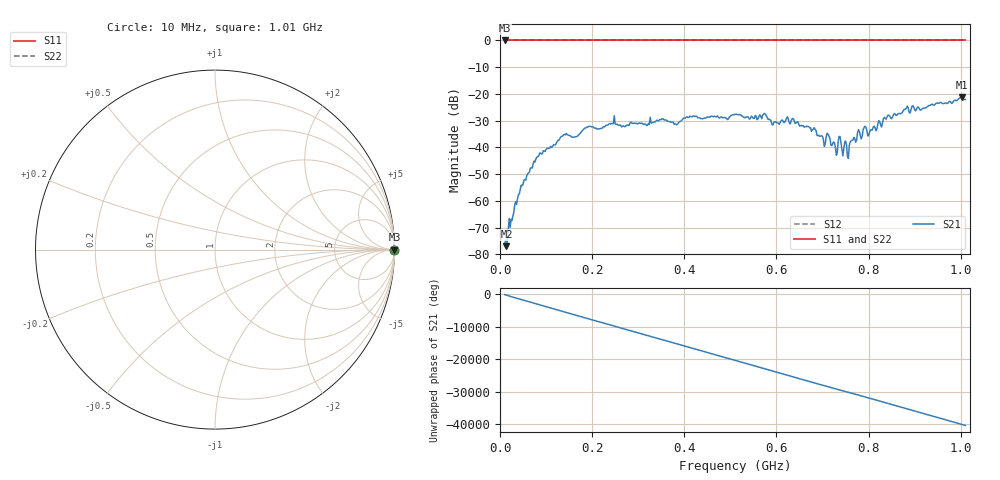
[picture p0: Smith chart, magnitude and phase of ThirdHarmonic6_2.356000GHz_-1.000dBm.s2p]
! 8/17/2025 3:35:15 AM
! C:\ANRITSUVNA\TEMP\TEMP.S2P
! CHANNEL.1
! TR.MEASUREMENT
! RAW.DATA
! RF.CORRECTION.OFF
! AVERAGING.OFF
! IF.BANDWIDTH: 5KHZ
! SWEEPTYPE:  FREQ.SWEEP(Linear)
! Reference Plane Port Info
! PORT:  PORT1  PORT2
! DISTANCE:  0  m  0  m
! TIME:  0  s  0  s
! PHASE.OFFSET:  0  deg.  0  deg.
! LOSS:  0  dB  0  dB
! REF.LOSS:  0  dB  0  dB
! REF.FREQ:  0  Hz  0  Hz
! Power Info
! POWER:  -20  dBm  -20  dBm
! EFF.POWER:  -20  dBm  -20  dBm
! SOURCE.ATTEN:  0  dB  0  dB
! TEST.ATTEN:  0  dB  0  dB
# GHZ S RI R 50.0
! FREQ.GHZ  S11RE  S11IM  S21RE  S21IM  S12RE  S12IM  S22RE  S22IM
!; PortSelection: Port_12
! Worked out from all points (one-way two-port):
!   501 points, 10 MHz to 1.01 GHz, reference 50 ohm
!   highest |S21| = -21.24 dB at 1.002 GHz (marker M1); lowest = -77.0 dB at 14 MHz (marker M2)
!   lowest |S11| = 0.0 dB at 10 MHz (marker M3)
!   |S11| at or under -10 dB: nowhere
!   |S22| runs from 0.0 to 0.0 dB; largest |S21 - S12| = 1.1
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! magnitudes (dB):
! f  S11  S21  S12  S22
! 10 MHz  0.0  -76.8  0.0  0.0
! 14 MHz  0.0  -77.0  0.0  0.0
! 44 MHz  0.0  -55.8  0.0  0.0
! 82 MHz  0.0  -43.5  0.0  0.0
! 136 MHz  0.0  -35.8  0.0  0.0
! 178 MHz  0.0  -33.9  0.0  0.0
! 344 MHz  0.0  -30.1  0.0  0.0
! 510 MHz  0.0  -27.6  0.0  0.0
! 574 MHz  0.0  -27.3  0.0  0.0
! 592 MHz  0.0  -31.7  0.0  0.0
! 636 MHz  0.0  -29.2  0.0  0.0
! 678 MHz  0.0  -33.5  0.0  0.0
! 702 MHz  0.0  -37.3  0.0  0.0
! 712 MHz  0.0  -35.1  0.0  0.0
! 728 MHz  0.0  -40.2  0.0  0.0
! 738 MHz  0.0  -36.0  0.0  0.0
! 756 MHz  0.0  -44.1  0.0  0.0
! 792 MHz  0.0  -32.1  0.0  0.0
! 802 MHz  0.0  -34.3  0.0  0.0
! 844 MHz  0.0  -28.0  0.0  0.0
! 1.002 GHz  0.0  -21.2  0.0  0.0
! 1.01 GHz  0.0  -22.1  0.0  0.0
